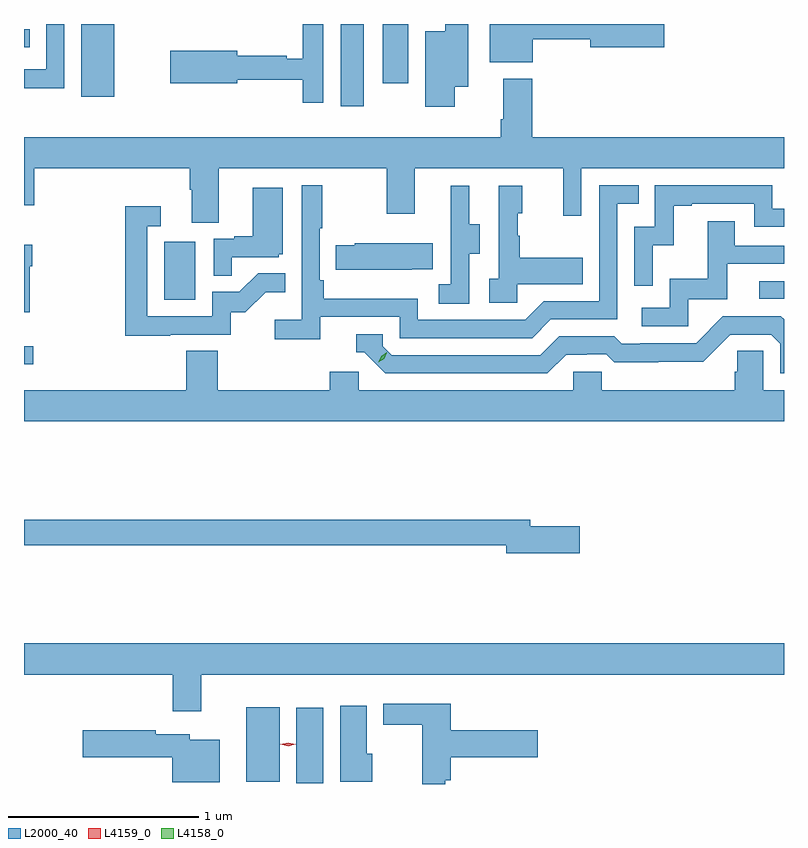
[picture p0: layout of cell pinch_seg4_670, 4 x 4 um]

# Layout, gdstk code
import gdstk
lib = gdstk.Library(unit=1e-6, precision=1e-09)
def R(c, l, rs):  # rectangles x0, y0, x1, y1
    for r in rs: c.add(gdstk.rectangle(r[:2], r[2:], *l))
def P(c, l, *ps):  # polygons
    for p in ps: c.add(gdstk.Polygon(p, *l))
L2000_40 = (2000, 40)
L4158_0 = (4158, 0)
L4159_0 = (4159, 0)

pinch_seg4_670 = lib.new_cell('pinch_seg4_670')
R(pinch_seg4_670, L2000_40, [(1130.606,749.628,1130.749,750.025), (1130.342,749.636,1130.518,750.028), (1129.173,751.832,1129.222,751.929), (1129.91,752.172,1130.074,752.479), (1133.043,752.178,1133.173,752.271), (1130.84,753.192,1130.962,753.622), (1129.475,753.24,1129.648,753.624), (1131.062,753.312,1131.196,753.624), (1129.173,753.501,1129.204,753.597)])
P(pinch_seg4_670, L2000_40, [(1129.386,753.624),(1129.29,753.624),(1129.29,753.387),(1129.173,753.387),(1129.173,753.286),(1129.386,753.286)],
  [(1131.85,753.544),(1132.154,753.544),(1132.154,753.502),(1132.543,753.502),(1132.543,753.624),(1131.623,753.624),(1131.623,753.422),(1131.85,753.422)],
  [(1131.439,753.293),(1131.511,753.293),(1131.511,753.624),(1131.389,753.624),(1131.389,753.586),(1131.284,753.586),(1131.284,753.189),(1131.439,753.189)],
  [(1130.748,753.624),(1130.64,753.624),(1130.64,753.44),(1130.555,753.44),(1130.555,753.458),(1130.296,753.458),(1130.296,753.482),(1129.944,753.482),(1129.944,753.311),(1130.296,753.311),(1130.296,753.33),(1130.64,753.33),(1130.64,753.21),(1130.748,753.21)],
  [(1130.197,752.864),(1131.082,752.864),(1131.082,752.625),(1131.229,752.625),(1131.229,752.864),(1132.01,752.864),(1132.01,752.616),(1132.107,752.616),(1132.107,752.864),(1133.173,752.864),(1133.173,753.028),(1131.848,753.028),(1131.848,753.337),(1131.695,753.337),(1131.695,753.124),(1131.683,753.124),(1131.683,753.028),(1129.173,753.028),(1129.173,752.67),(1129.226,752.67),(1129.226,752.864),(1130.045,752.864),(1130.045,752.752),(1130.057,752.752),(1130.057,752.578),(1130.197,752.578)],
  [(1130.732,752.082),(1131.15,752.082),(1131.15,751.971),(1131.847,751.971),(1131.946,752.07),(1132.296,752.07),(1132.296,752.679),(1132.409,752.679),(1132.409,752.775),(1132.2,752.775),(1132.2,752.166),(1131.909,752.166),(1131.81,752.067),(1131.246,752.067),(1131.246,752.179),(1130.75,752.179),(1130.75,752.275),(1130.73,752.275),(1130.73,752.548),(1130.743,752.548),(1130.743,752.776),(1130.634,752.776),(1130.634,752.068),(1130.493,752.068),(1130.493,751.966),(1130.732,751.966)],
  [(1132.482,752.459),(1132.592,752.459),(1132.592,752.667),(1132.687,752.667),(1132.687,752.679),(1133.016,752.679),(1133.016,752.556),(1133.173,752.556),(1133.173,752.652),(1133.112,752.652),(1133.112,752.775),(1132.494,752.775),(1132.494,752.556),(1132.386,752.556),(1132.386,752.247),(1132.482,752.247)],
  [(1131.516,752.416),(1131.571,752.416),(1131.571,752.571),(1131.517,752.571),(1131.517,752.773),(1131.419,752.773),(1131.419,752.559),(1131.42,752.559),(1131.42,752.255),(1131.357,752.255),(1131.357,752.152),(1131.516,752.152)],
  [(1131.768,752.255),(1132.115,752.255),(1132.115,752.395),(1131.781,752.395),(1131.781,752.51),(1131.771,752.51),(1131.771,752.628),(1131.796,752.628),(1131.796,752.773),(1131.672,752.773),(1131.672,752.282),(1131.621,752.282),(1131.621,752.157),(1131.768,752.157)],
  [(1130.267,752.397),(1130.514,752.397),(1130.514,752.412),(1130.536,752.412),(1130.536,752.761),(1130.378,752.761),(1130.378,752.506),(1130.279,752.506),(1130.279,752.493),(1130.172,752.493),(1130.172,752.299),(1130.267,752.299)],
  [(1129.943,751.989),(1130.262,751.989),(1130.262,752.106),(1130.338,752.106),(1130.445,752.213),(1130.549,752.213),(1130.549,752.312),(1130.405,752.312),(1130.307,752.214),(1130.163,752.214),(1130.163,752.085),(1129.821,752.085),(1129.821,752.559),(1129.894,752.559),(1129.894,752.665),(1129.705,752.665),(1129.705,751.984),(1129.943,751.984)],
  [(1132.668,752.175),(1132.873,752.175),(1132.873,752.361),(1133.173,752.361),(1133.173,752.457),(1132.915,752.457),(1132.915,752.587),(1132.771,752.587),(1132.771,752.284),(1132.572,752.284),(1132.572,752.13),(1132.425,752.13),(1132.425,752.034),(1132.668,752.034)],
  [(1131.215,752.333),(1131.323,752.333),(1131.323,752.47),(1130.913,752.47),(1130.913,752.46),(1130.815,752.46),(1130.815,752.33),(1131.215,752.33)],
  [(1129.204,752.348),(1129.217,752.348),(1129.217,752.461),(1129.173,752.461),(1129.173,752.108),(1129.204,752.108)],
  [(1132.027,751.884),(1132.134,751.884),(1132.134,751.887),(1132.237,751.887),(1132.279,751.845),(1132.512,751.845),(1132.512,751.847),(1132.748,751.847),(1132.89,751.989),(1133.106,751.989),(1133.154,751.941),(1133.154,751.785),(1133.173,751.785),(1133.173,752.069),(1133.157,752.085),(1132.851,752.085),(1132.71,751.944),(1132.417,751.944),(1132.417,751.941),(1132.318,751.941),(1132.279,751.98),(1131.99,751.98),(1131.891,751.881),(1131.108,751.881),(1131.06,751.929),(1131.06,751.992),(1130.921,751.992),(1130.921,751.896),(1130.964,751.896),(1131.075,751.785),(1131.928,751.785)],
  [(1133.173,751.696),(1133.064,751.696),(1133.064,751.904),(1132.927,751.904),(1132.927,751.794),(1132.913,751.794),(1132.913,751.696),(1132.215,751.696),(1132.215,751.794),(1132.065,751.794),(1132.065,751.696),(1130.934,751.696),(1130.934,751.794),(1130.783,751.794),(1130.783,751.696),(1130.192,751.696),(1130.192,751.904),(1130.027,751.904),(1130.027,751.696),(1129.173,751.696),(1129.173,751.532),(1133.173,751.532)],
  [(1132.099,750.98),(1131.838,750.98),(1131.838,751.016),(1129.173,751.016),(1129.173,750.88),(1131.71,750.88),(1131.71,750.838),(1132.099,750.838)],
  [(1130.107,750.2),(1133.173,750.2),(1133.173,750.364),(1129.173,750.364),(1129.173,750.2),(1129.955,750.2),(1129.955,750.006),(1130.107,750.006)],
  [(1131.389,749.645),(1131.419,749.645),(1131.419,749.765),(1131.877,749.765),(1131.877,749.907),(1131.419,749.907),(1131.419,750.046),(1131.063,750.046),(1131.063,749.937),(1131.268,749.937),(1131.268,749.624),(1131.389,749.624)],
  [(1131.007,749.784),(1130.977,749.784),(1130.977,750.037),(1130.837,750.037),(1130.837,749.636),(1131.007,749.636)],
  [(1130.203,749.857),(1130.046,749.857),(1130.046,749.887),(1129.866,749.887),(1129.866,749.907),(1129.482,749.907),(1129.482,749.765),(1129.952,749.765),(1129.952,749.633),(1130.203,749.633)])
P(pinch_seg4_670, L4158_0, [(1131.037,751.843),(1131.037,751.843),(1131.053,751.876),(1131.083,751.896),(1131.083,751.896),(1131.083,751.895),(1131.068,751.863),(1131.038,751.843)])
P(pinch_seg4_670, L4159_0, [(1130.563,749.822),(1130.522,749.832),(1130.522,749.832),(1130.522,749.833),(1130.563,749.842),(1130.603,749.832),(1130.603,749.832),(1130.603,749.832)])

lib.write_gds('pinch_seg4_670.gds')
